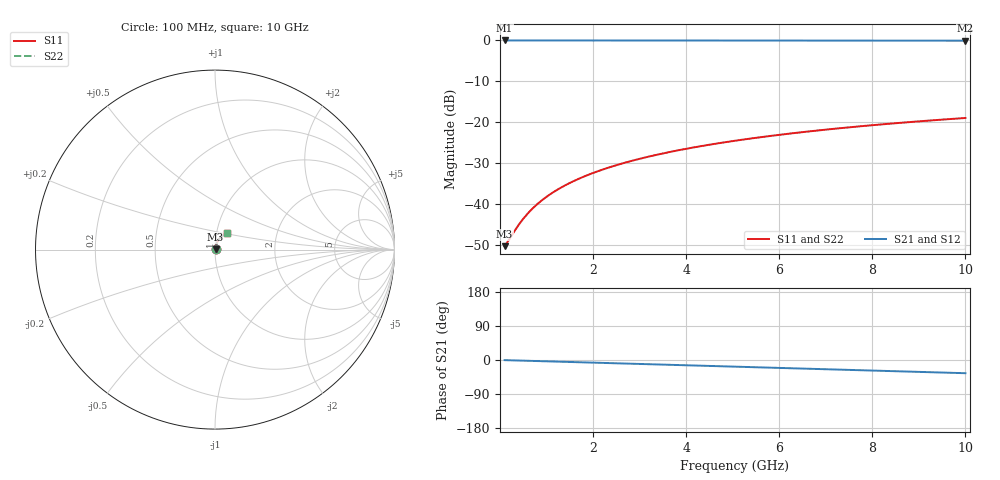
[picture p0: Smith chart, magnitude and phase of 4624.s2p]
# Hz S RI R 50.00
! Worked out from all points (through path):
!   100 points, 100 MHz to 10 GHz, reference 50 ohm
!   highest |S21| = -0.02 dB at 100 MHz (marker M1); lowest = -0.1 dB at 10 GHz (marker M2)
!   group delay of S21, straight-line fit = 9.68 ps
!   lowest |S11| = -50.2 dB at 100 MHz (marker M3), VSWR 1.01, Z = 50.3 + j0.119 ohm
!   |S11| at or under -10 dB: start of sweep to end of sweep
!   |S22| runs from -50.2 to -19.0 dB; largest |S21 - S12| = 1e-12
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1e8  0.00284 0.00118  0.9971 -0.00604  0.9971 -0.00604  0.00284 0.00118
2e8  0.00288 0.00236  0.9971 -0.0121  0.9971 -0.0121  0.00288 0.00236
3e8  0.00293 0.00354  0.997 -0.0181  0.997 -0.0181  0.00293 0.00354
4e8  0.00299 0.00472  0.9968 -0.0242  0.9968 -0.0242  0.00299 0.00472
5e8  0.00306 0.0059  0.9966 -0.0302  0.9966 -0.0302  0.00306 0.0059
6e8  0.00314 0.00707  0.9964 -0.0362  0.9964 -0.0362  0.00314 0.00707
7e8  0.00324 0.00825  0.9961 -0.0423  0.9961 -0.0423  0.00324 0.00825
8e8  0.00335 0.00942  0.9959 -0.0483  0.9959 -0.0483  0.00335 0.00942
1e9  0.00362 0.0118  0.9951 -0.0604  0.9951 -0.0604  0.00362 0.0118
1.2e9  0.00394 0.0141  0.9943 -0.0724  0.9943 -0.0724  0.00394 0.0141
1.5e9  0.00453 0.0176  0.9927 -0.0905  0.9927 -0.0905  0.00453 0.0176
1.8e9  0.00524 0.0211  0.9908 -0.1085  0.9908 -0.1085  0.00524 0.0211
2.1e9  0.00608 0.0245  0.9886 -0.1265  0.9886 -0.1265  0.00608 0.0245
2.5e9  0.00739 0.029  0.9851 -0.1505  0.9851 -0.1505  0.00739 0.029
2.9e9  0.00892 0.0335  0.981 -0.1743  0.981 -0.1743  0.00892 0.0335
3.4e9  0.0111 0.0389  0.975 -0.204  0.975 -0.204  0.0111 0.0389
4.2e9  0.0153 0.0473  0.9635 -0.251  0.9635 -0.251  0.0153 0.0473
5.1e9  0.0211 0.0563  0.9477 -0.3031  0.9477 -0.3031  0.0211 0.0563
5.9e9  0.0269 0.0637  0.9313 -0.3487  0.9313 -0.3487  0.0269 0.0637
6.7e9  0.0335 0.0705  0.9125 -0.3934  0.9125 -0.3934  0.0335 0.0705
8.4e9  0.0495 0.0827  0.8655 -0.4849  0.8655 -0.4849  0.0495 0.0827
1e10  0.0667 0.091  0.8126 -0.566  0.8126 -0.566  0.0667 0.091
